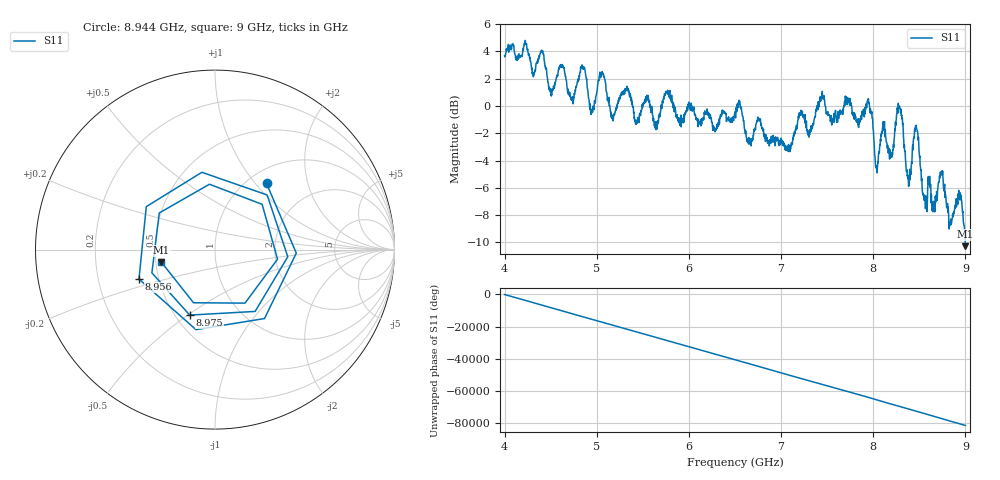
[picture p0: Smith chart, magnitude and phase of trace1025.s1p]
! Created with skrf 1.8.0 (http://scikit-rf.org).
# Hz S RI R 50.0
!freq ReS11 ImS11
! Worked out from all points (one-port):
!   1601 points, 4 GHz to 9 GHz, reference 50 ohm
!   lowest |S11| = -10.3 dB at 9 GHz (marker M1), VSWR 1.88, Z = 26.8 - j4.18 ohm
!   |S11| at or under -10 dB: 8.997729 GHz to end of sweep
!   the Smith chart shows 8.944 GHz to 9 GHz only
!   S11 on the Smith chart (normalised r, x): 8.944 GHz: 1.21, +1.14; 8.956 GHz: 0.39, -0.16; 8.975 GHz: 0.59, -0.51; 9 GHz: 0.54, -0.08
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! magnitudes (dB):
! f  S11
! 4 GHz  3.7
! 4.403 GHz  4.1
! 4.503 GHz  0.9
! 4.625 GHz  3.0
! 4.728 GHz  0.5
! 4.85 GHz  2.9
! 4.944 GHz  -0.5
! 5.05 GHz  2.3
! 5.169 GHz  -0.8
! 5.25 GHz  0.5
! 5.875 GHz  -0.9
! 6.5 GHz  -0.6
! 7.125 GHz  -2.6
! 7.441 GHz  0.6
! 7.75 GHz  0.0
! 7.959 GHz  0.0
! 8.041 GHz  -4.9
! 8.109 GHz  -1.1
! 8.2 GHz  -3.8
! 8.284 GHz  0.0
! 8.375 GHz  -5.3
! 8.466 GHz  -1.4
! 8.562 GHz  -6.9
! 8.734 GHz  -5.1
! 8.944 GHz  -6.6
! 8.956 GHz  -6.9
! 8.975 GHz  -8.2
! 9 GHz  -10.3
